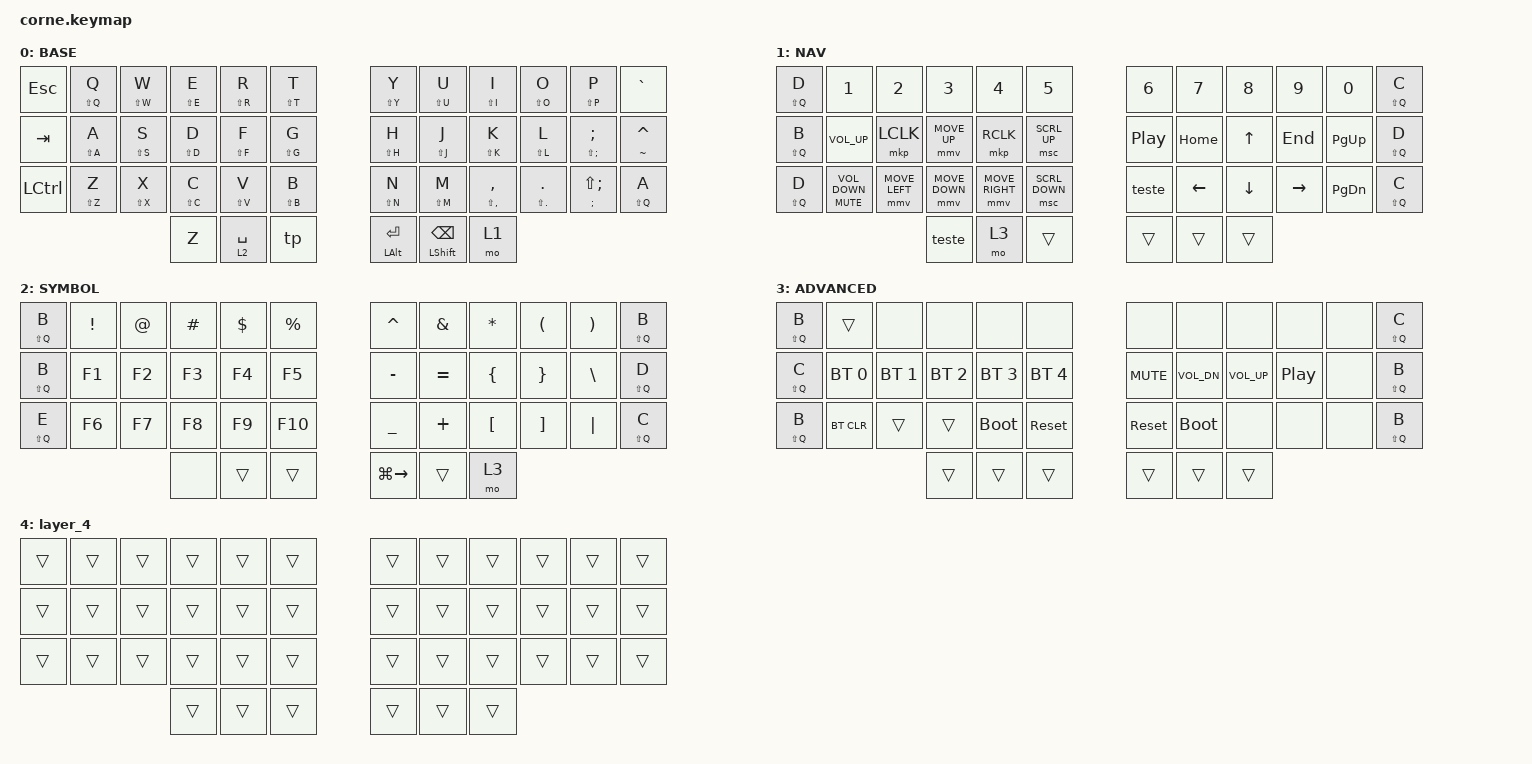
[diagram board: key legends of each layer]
/ {
    chosen { zmk,matrix_transform = &default_transform; };
};

#include <behaviors.dtsi>
#include <dt-bindings/zmk/bt.h>
#include <dt-bindings/zmk/keys.h>
#include <dt-bindings/zmk/mouse.h>

#define TAPPING_TERM 200
#define ZMK_MOUSE_DEFAULT_MOVE_VAL 1500  // 600
#define ZMK_MOUSE_DEFAULT_SCRL_VAL 10    // 10

/ {
    behaviors {
        /*
    * td_lock groups locking functions into one key:
    *  - tap once to lock the host
    *  - tap twice to put the host to sleep
    */

        as: as {
            compatible = "zmk,behavior-hold-tap";
            label = "AS";
            bindings = <&kp>, <&kp>;

            #binding-cells = <2>;
            tapping-term-ms = <200>;
            flavor = "tap-preferred";
        };

        tp: tp {
            compatible = "zmk,behavior-tap-dance";
            label = "TP";
            #binding-cells = <0>;
            bindings = <&kp LGUI>, <&kp LEFT_CONTROL>;

            tapping-term-ms = <300>;
        };
    };

    combos { compatible = "zmk,combos"; };

    macros {
        teste: teste {
            compatible = "zmk,behavior-macro";
            #binding-cells = <0>;
            bindings = <&kp LS(M) &kp A &kp I &kp O &kp AT &kp N3 &kp N2 &kp N6 &kp N1 &kp N5 &kp N9 &kp N4 &kp N8 &kp N7>;
            label = "TESTE";
        };
    };

    keymap {
        compatible = "zmk,keymap";

        base_layer {
            label = "BASE";
            bindings = <
&kp ESCAPE  &as LS(Q) Q  &as LS(W) W  &as LS(E) E  &as LS(R) R  &as LS(T) T    &as LS(Y) Y         &as LS(U) U           &as LS(I) I          &as LS(O) O      &as LS(P) P                  &kp GRAVE
&kp TAB     &as LS(A) A  &as LS(S) S  &as LS(D) D  &as LS(F) F  &as LS(G) G    &as LS(H) H         &as LS(J) J           &as LS(K) K          &as LS(L) L      &as LS(SEMICOLON) SEMICOLON  &as TILDE CARET
&kp LCTRL   &as LS(Z) Z  &as LS(X) X  &as LS(C) C  &as LS(V) V  &as LS(B) B    &as LS(N) N         &as LS(M) M           &as LS(COMMA) COMMA  &as LS(DOT) DOT  &as SEMI LS(SEMI)            &as LS(Q) A
                                      &kp Z        &lt 2 SPACE  &tp            &mt LEFT_ALT ENTER  &mt LSHIFT BACKSPACE  &mo 1
            >;
        };

        nav_layer {
            label = "NAV";
            bindings = <
&as LS(Q) D  &kp N1                    &kp N2          &kp N3          &kp N4           &kp N5            &kp N6            &kp N7    &kp N8    &kp N9     &kp N0     &as LS(Q) C
&as LS(Q) B  &kp C_VOLUME_UP           &mkp LCLK       &mmv MOVE_UP    &mkp RCLK        &msc SCRL_UP      &kp C_PLAY_PAUSE  &kp HOME  &kp UP    &kp END    &kp PG_UP  &as LS(Q) D
&as LS(Q) D  &mt C_MUTE C_VOLUME_DOWN  &mmv MOVE_LEFT  &mmv MOVE_DOWN  &mmv MOVE_RIGHT  &msc SCRL_DOWN    &teste            &kp LEFT  &kp DOWN  &kp RIGHT  &kp PG_DN  &as LS(Q) C
                                                       &teste          &mo 3            &trans            &trans            &trans    &trans
            >;
        };

        symbols_layer {
            label = "SYMBOL";
            bindings = <
&as LS(Q) B  &kp EXCL  &kp AT  &kp HASH  &kp DOLLAR  &kp PERCENT    &kp CARET      &kp AMPS   &kp STAR          &kp LEFT_PARENTHESIS  &kp RIGHT_PARENTHESIS  &as LS(Q) B
&as LS(Q) B  &kp F1    &kp F2  &kp F3    &kp F4      &kp F5         &kp MINUS      &kp EQUAL  &kp LEFT_BRACE    &kp RIGHT_BRACE       &kp BSLH               &as LS(Q) D
&as LS(Q) E  &kp F6    &kp F7  &kp F8    &kp F9      &kp F10        &kp UNDER      &kp PLUS   &kp LEFT_BRACKET  &kp RIGHT_BRACKET     &kp PIPE               &as LS(Q) C
                               &none     &trans      &trans         &kp LG(RIGHT)  &trans     &mo 3
            >;
        };

        Advanced {
            label = "ADVANCED";
            bindings = <
&as LS(Q) B  &trans        &none         &none         &none         &none           &none       &none         &none         &none             &none  &as LS(Q) C
&as LS(Q) C  &bt BT_SEL 0  &bt BT_SEL 1  &bt BT_SEL 2  &bt BT_SEL 3  &bt BT_SEL 4    &kp K_MUTE  &kp C_VOL_DN  &kp C_VOL_UP  &kp C_PLAY_PAUSE  &none  &as LS(Q) B
&as LS(Q) B  &bt BT_CLR    &trans        &trans        &bootloader   &sys_reset      &sys_reset  &bootloader   &none         &none             &none  &as LS(Q) B
                                         &trans        &trans        &trans          &trans      &trans        &trans
            >;
        };

        layer_4 {
            bindings = <
&trans  &trans  &trans  &trans  &trans  &trans    &trans  &trans  &trans  &trans  &trans  &trans
&trans  &trans  &trans  &trans  &trans  &trans    &trans  &trans  &trans  &trans  &trans  &trans
&trans  &trans  &trans  &trans  &trans  &trans    &trans  &trans  &trans  &trans  &trans  &trans
                        &trans  &trans  &trans    &trans  &trans  &trans
            >;
        };
    };

    conditional_layers { compatible = "zmk,conditional-layers"; };
};
